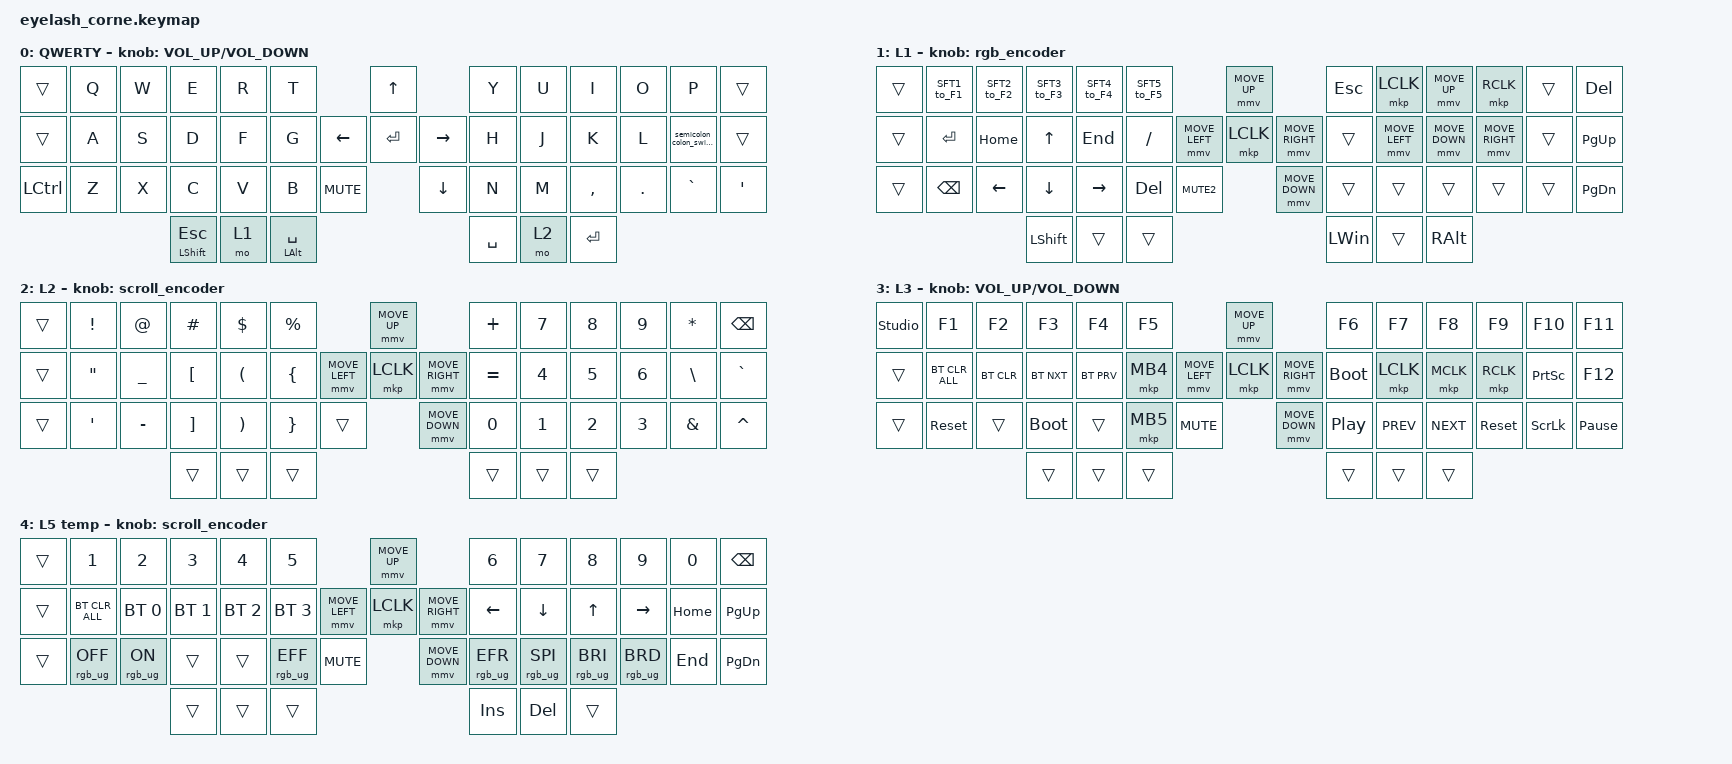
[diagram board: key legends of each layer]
#define ZMK_POINTING_DEFAULT_MOVE_VAL 1200  // 600
#define ZMK_POINTING_DEFAULT_SCRL_VAL 25   // 10

#include <input/processors.dtsi>
#include <zephyr/dt-bindings/input/input-event-codes.h>
#include <behaviors.dtsi>
#include <dt-bindings/zmk/bt.h>
#include <dt-bindings/zmk/keys.h>
#include <dt-bindings/zmk/pointing.h>
#include <dt-bindings/zmk/rgb.h>

&mmv_input_listener { input-processors = <&zip_xy_scaler 2 1>; };

&msc_input_listener { input-processors = <&zip_scroll_scaler 2 1>; };

&msc {
    acceleration-exponent = <1>;      // 0
    time-to-max-speed-ms = <100>;       // 300
    delay-ms = <0>;                   // 0
};

&mmv {
    time-to-max-speed-ms = <500>;
    acceleration-exponent = <1>;
    trigger-period-ms = <16>;
};

&mt {
    flavor = "hold-preferred";
    hold-while-undecided;
};

/ {
    behaviors {
        td0: td0 {
            compatible = "zmk,behavior-tap-dance";
            display-name = "Shift/Caps Lock Tap Dance";
            #binding-cells = <0>;
            bindings = <&kp LEFT_SHIFT>, <&kp CAPS>;
        };

        SFT1_to_F1: SFT1_to_F1 {
            compatible = "zmk,behavior-mod-morph";
            label = "Morph SFT+1 to F1";
            bindings = <&kp NUMBER_1>, <&kp F1>;

            #binding-cells = <0>;
            mods = <(MOD_LSFT)>;
        };

        SFT2_to_F2: SFT2_to_F2 {
            compatible = "zmk,behavior-mod-morph";
            label = "Morph SFT+2 to F2";
            bindings = <&kp NUMBER_2>, <&kp F2>;

            #binding-cells = <0>;
            mods = <(MOD_LSFT)>;
        };

        SFT3_to_F3: SFT3_to_F3 {
            compatible = "zmk,behavior-mod-morph";
            label = "Morph SFT+3to F3";
            bindings = <&kp NUMBER_3>, <&kp F3>;

            #binding-cells = <0>;
            mods = <(MOD_LSFT)>;
        };

        SFT4_to_F4: SFT4_to_F4 {
            compatible = "zmk,behavior-mod-morph";
            label = "Morph SFT+4 to F4";
            bindings = <&kp NUMBER_4>, <&kp F4>;

            #binding-cells = <0>;
            mods = <(MOD_LSFT)>;
        };

        SFT5_to_F5: SFT5_to_F5 {
            compatible = "zmk,behavior-mod-morph";
            label = "Morph SFT+5 to F5";
            bindings = <&kp N5>, <&kp F5>;

            #binding-cells = <0>;
            mods = <(MOD_LSFT)>;
        };

        semicolon_colon_switch: semicolon_colon_switch {
            compatible = "zmk,behavior-mod-morph";
            label = "Switch ;/: behaviour";
            bindings = <&kp COLON>, <&kp SEMICOLON>;

            #binding-cells = <0>;
            mods = <(MOD_LSFT|MOD_RSFT)>;
        };

        alt_mt_hold_pref: alt_mt_hold_pref {
            compatible = "zmk,behavior-hold-tap";
            label = "Alternative &mt with hold-preferred flavor";
            bindings = <&kp>, <&kp>;

            #binding-cells = <2>;
            tapping-term-ms = <200>;
        };
    };

    rgb_encoder: rgb_encoder {
        compatible = "zmk,behavior-sensor-rotate";
        #sensor-binding-cells = <0>;
        bindings = <&rgb_ug RGB_BRI>, <&rgb_ug RGB_BRD>;
    };

    scroll_encoder: scroll_encoder {
        compatible = "zmk,behavior-sensor-rotate";
        #sensor-binding-cells = <0>;
        bindings = <&msc SCRL_DOWN>, <&msc SCRL_UP>;

        tap-ms = <100>;
    };

    combos {
        compatible = "zmk,combos";

        combo_RSFT {
            bindings = <&kp RIGHT_SHIFT>;
            key-positions = <40 41>;
        };

        combo_LeftArrow {
            bindings = <&kp LEFT_ARROW>;
            key-positions = <38 39>;
        };

        combo_RightArrow {
            bindings = <&kp RIGHT_ARROW>;
            key-positions = <40 39>;
        };

        combo_CtrlShiftT {
            bindings = <&kp LC(LS(T))>;
            key-positions = <4 5>;
        };

        combo_AltShiftUp {
            bindings = <&kp LA(LS(UP))>;
            key-positions = <15 16>;
            layers = <1>;
        };

        combo_AltShiftDown {
            bindings = <&kp LS(LA(DOWN))>;
            key-positions = <30 31>;
            layers = <1>;
        };

        ParenthesisAndCenterMacro {
            bindings = <&macro_ParenthesisAndCenter>;
            key-positions = <17 32>;
            layers = <2>;
        };

        BracketsAndCenterMacro {
            bindings = <&macro_BracketsAndCenter>;
            key-positions = <16 31>;
            layers = <2>;
        };

        CurlBracketsAndCenterMacro {
            bindings = <&macro_CurlBracketsAndCenter>;
            key-positions = <18 33>;
            layers = <2>;
        };

        combo_TAB {
            bindings = <&kp TAB>;
            key-positions = <1 2>;
        };

        combo_LeftWin {
            bindings = <&kp LEFT_WIN>;
            key-positions = <29 30>;
        };

        combo_backspace {
            bindings = <&kp BACKSPACE>;
            key-positions = <23 24>;
        };

        combo_delete {
            bindings = <&kp DELETE>;
            key-positions = <24 25>;
        };
    };

    macros {
        macro_ParenthesisAndCenter: macro_ParenthesisAndCenter {
            compatible = "zmk,behavior-macro";
            #binding-cells = <0>;
            bindings = <&kp LEFT_PARENTHESIS &kp RIGHT_PARENTHESIS &kp LEFT>;
            label = "MACRO_PARENTHESISANDCENTER";
        };

        macro_BracketsAndCenter: new_macro {
            compatible = "zmk,behavior-macro";
            #binding-cells = <0>;
            bindings = <&kp LEFT_BRACKET &kp RIGHT_BRACKET &kp LEFT>;
            label = "NEW_MACRO";
        };

        macro_CurlBracketsAndCenter: macro_CurlBracketsAndCenter {
            compatible = "zmk,behavior-macro";
            #binding-cells = <0>;
            bindings = <&kp LEFT_BRACE &kp RIGHT_BRACE &kp LEFT>;
            label = "MACRO_CURLBRACKETSANDCENTER";
        };
    };

    keymap {
        compatible = "zmk,keymap";

        default_layer {
            display-name = "QWERTY";
            bindings = <
&trans     &kp Q  &kp W  &kp E                  &kp R  &kp T                                                     &kp UP                &kp Y      &kp U  &kp I      &kp O    &kp P                    &trans
&trans     &kp A  &kp S  &kp D                  &kp F  &kp G                                           &kp LEFT  &kp ENTER  &kp RIGHT  &kp H      &kp J  &kp K      &kp L    &semicolon_colon_switch  &trans
&kp LCTRL  &kp Z  &kp X  &kp C                  &kp V  &kp B                             &kp K_MUTE              &kp DOWN              &kp N      &kp M  &kp COMMA  &kp DOT  &kp GRAVE                &kp SQT
                         &mt LEFT_SHIFT ESCAPE  &mo 1  &alt_mt_hold_pref LEFT_ALT SPACE                                                &kp SPACE  &mo 2  &kp ENTER
            >;

            sensor-bindings = <&inc_dec_kp C_VOLUME_UP C_VOLUME_DOWN>;
        };

        lower_layer {
            display-name = "L1";
            bindings = <
&trans  &SFT1_to_F1    &SFT2_to_F2  &SFT3_to_F3     &SFT4_to_F4  &SFT5_to_F5                                 &mmv MOVE_UP                     &kp ESC       &mkp LCLK       &mmv MOVE_UP    &mkp RCLK        &trans  &kp DELETE
&trans  &kp ENTER      &kp HOME     &kp UP          &kp END      &kp SLASH                   &mmv MOVE_LEFT  &mkp LCLK       &mmv MOVE_RIGHT  &trans        &mmv MOVE_LEFT  &mmv MOVE_DOWN  &mmv MOVE_RIGHT  &trans  &kp PG_UP
&trans  &kp BACKSPACE  &kp LEFT     &kp DOWN        &kp RIGHT    &kp DELETE   &kp K_MUTE2                    &mmv MOVE_DOWN                   &trans        &trans          &trans          &trans           &trans  &kp PG_DN
                                    &kp LEFT_SHIFT  &trans       &trans                                                                       &kp LEFT_WIN  &trans          &kp RIGHT_ALT
            >;

            sensor-bindings = <&rgb_encoder>;
        };

        raise_layer {
            display-name = "L2";
            bindings = <
&trans  &kp EXCL           &kp AT          &kp HASH           &kp DLLR               &kp PRCNT                                  &mmv MOVE_UP                     &kp PLUS   &kp N7        &kp N8        &kp N9        &kp ASTERISK  &kp BSPC
&trans  &kp DOUBLE_QUOTES  &kp UNDERSCORE  &kp LEFT_BRACKET   &kp LEFT_PARENTHESIS   &kp LEFT_BRACE             &mmv MOVE_LEFT  &mkp LCLK       &mmv MOVE_RIGHT  &kp EQUAL  &kp NUMBER_4  &kp N5        &kp NUMBER_6  &kp BSLH      &kp GRAVE
&trans  &kp SINGLE_QUOTE   &kp MINUS       &kp RIGHT_BRACKET  &kp RIGHT_PARENTHESIS  &kp RIGHT_BRACE  &trans                    &mmv MOVE_DOWN                   &kp N0     &kp NUMBER_1  &kp NUMBER_2  &kp NUMBER_3  &kp AMPS      &kp CARET
                                           &trans             &trans                 &trans                                                                      &trans     &trans        &trans
            >;

            sensor-bindings = <&scroll_encoder>;
        };

        layer_3 {
            display-name = "L3";
            bindings = <
&studio_unlock  &kp F1          &kp F2      &kp F3       &kp F4      &kp F5                                  &mmv MOVE_UP                     &kp F6            &kp F7      &kp F8      &kp F9      &kp F10          &kp F11
&trans          &bt BT_CLR_ALL  &bt BT_CLR  &bt BT_NXT   &bt BT_PRV  &mkp MB4                &mmv MOVE_LEFT  &mkp LCLK       &mmv MOVE_RIGHT  &bootloader       &mkp LCLK   &mkp MCLK   &mkp RCLK   &kp PRINTSCREEN  &kp F12
&trans          &sys_reset      &trans      &bootloader  &trans      &mkp MB5  &kp K_MUTE                    &mmv MOVE_DOWN                   &kp C_PLAY_PAUSE  &kp C_PREV  &kp C_NEXT  &sys_reset  &kp SCROLLLOCK   &kp PAUSE_BREAK
                                            &trans       &trans      &trans                                                                   &trans            &trans      &trans
            >;

            sensor-bindings = <&inc_dec_kp K_VOL_UP K_VOLUME_DOWN>;
        };

        layer_5 {
            display-name = "L5 temp";
            bindings = <
&trans  &kp N1           &kp N2          &kp N3        &kp N4        &kp N5                                         &mmv MOVE_UP                     &kp N6           &kp N7           &kp N8           &kp N9           &kp N0    &kp BSPC
&trans  &bt BT_CLR_ALL   &bt BT_SEL 0    &bt BT_SEL 1  &bt BT_SEL 2  &bt BT_SEL 3                   &mmv MOVE_LEFT  &mkp LCLK       &mmv MOVE_RIGHT  &kp LEFT         &kp DOWN         &kp UP           &kp RIGHT        &kp HOME  &kp PG_UP
&trans  &rgb_ug RGB_OFF  &rgb_ug RGB_ON  &trans        &trans        &rgb_ug RGB_EFF  &kp C_MUTE                    &mmv MOVE_DOWN                   &rgb_ug RGB_EFR  &rgb_ug RGB_SPI  &rgb_ug RGB_BRI  &rgb_ug RGB_BRD  &kp END   &kp PG_DN
                                         &trans        &trans        &trans                                                                          &kp INS          &kp DEL          &trans
            >;

            sensor-bindings = <&scroll_encoder>;
        };
    };

    conditional_layers {
        compatible = "zmk,conditional-layers";

        L3 {
            if-layers = <1 2>;
            then-layer = <3>;
        };
    };
};
